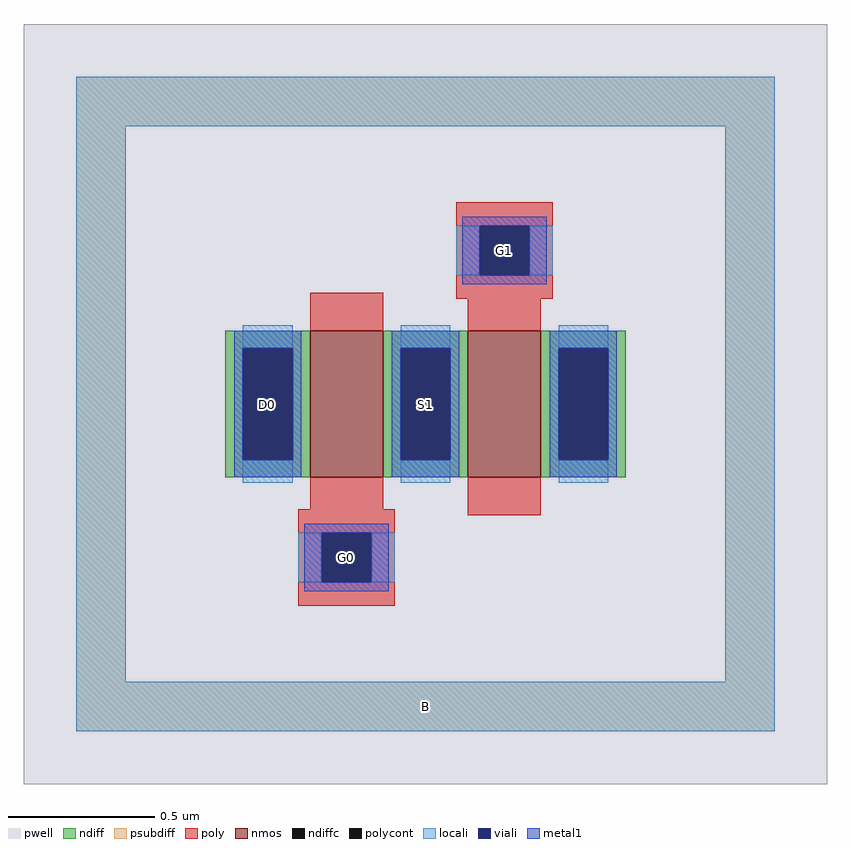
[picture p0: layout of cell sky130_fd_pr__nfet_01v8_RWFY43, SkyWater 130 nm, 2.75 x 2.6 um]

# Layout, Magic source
magic
tech sky130A
magscale 1 2
<< pwell >>
rect -275 -260 275 260
<< nmos >>
rect -79 -50 -29 50
rect 29 -50 79 50
<< ndiff >>
rect -137 38 -79 50
rect -137 -38 -125 38
rect -91 -38 -79 38
rect -137 -50 -79 -38
rect -29 38 29 50
rect -29 -38 -17 38
rect 17 -38 29 38
rect -29 -50 29 -38
rect 79 38 137 50
rect 79 -38 91 38
rect 125 -38 137 38
rect 79 -50 137 -38
<< ndiffc >>
rect -125 -38 -91 38
rect -17 -38 17 38
rect 91 -38 125 38
<< psubdiff >>
rect -239 190 239 224
rect -239 -190 -205 190
rect 205 -190 239 190
rect -239 -224 239 -190
<< poly >>
rect 21 122 87 138
rect 21 88 37 122
rect 71 88 87 122
rect -79 50 -29 76
rect 21 72 87 88
rect 29 50 79 72
rect -79 -72 -29 -50
rect -87 -88 -21 -72
rect 29 -76 79 -50
rect -87 -122 -71 -88
rect -37 -122 -21 -88
rect -87 -138 -21 -122
<< polycont >>
rect 37 88 71 122
rect -71 -122 -37 -88
<< locali >>
rect -239 190 239 224
rect -239 -190 -205 190
rect 21 88 37 122
rect 71 88 87 122
rect -125 38 -91 54
rect -125 -54 -91 -38
rect -17 38 17 54
rect -17 -54 17 -38
rect 91 38 125 54
rect 91 -54 125 -38
rect -87 -122 -71 -88
rect -37 -122 -21 -88
rect 205 -190 239 190
rect -239 -224 239 -190
<< viali >>
rect 37 88 71 122
rect -125 -38 -91 38
rect -17 -38 17 38
rect 91 -38 125 38
rect -71 -122 -37 -88
<< metal1 >>
rect 25 122 83 128
rect 25 88 37 122
rect 71 88 83 122
rect 25 82 83 88
rect -131 38 -85 50
rect -131 -38 -125 38
rect -91 -38 -85 38
rect -131 -50 -85 -38
rect -23 38 23 50
rect -23 -38 -17 38
rect 17 -38 23 38
rect -23 -50 23 -38
rect 85 38 131 50
rect 85 -38 91 38
rect 125 -38 131 38
rect 85 -50 131 -38
rect -83 -88 -25 -82
rect -83 -122 -71 -88
rect -37 -122 -25 -88
rect -83 -128 -25 -122
<< labels >>
rlabel psubdiff 0 -207 0 -207 0 B
port 1 nsew
rlabel ndiffc -108 0 -108 0 0 D0
port 2 nsew
rlabel polycont -54 -105 -54 -105 0 G0
port 3 nsew
rlabel ndiffc 0 0 0 0 0 S1
port 4 nsew
rlabel polycont 54 105 54 105 0 G1
port 5 nsew
<< properties >>
string FIXED_BBOX -222 -207 222 207
string gencell sky130_fd_pr__nfet_01v8
string library sky130
string parameters w 0.5 l 0.25 m 1 nf 2 diffcov 100 polycov 100 guard 1 glc 0 grc 0 gtc 0 gbc 0 tbcov 100 rlcov 100 topc 1 botc 1 poverlap 0 doverlap 1 lmin 0.15 wmin 0.42 class mosfet compatible {sky130_fd_pr__nfet_01v8 sky130_fd_pr__nfet_01v8_lvt  sky130_fd_bs_flash__special_sonosfet_star  sky130_fd_pr__nfet_g5v0d10v5 sky130_fd_pr__nfet_05v0_nvt  sky130_fd_pr__nfet_03v3_nvt} full_metal 1 conn_gates 0 viasrc 100 viadrn 100 viagate 100 viagb 0 viagr 0 viagl 0 viagt 0 doports 1
<< end >>
